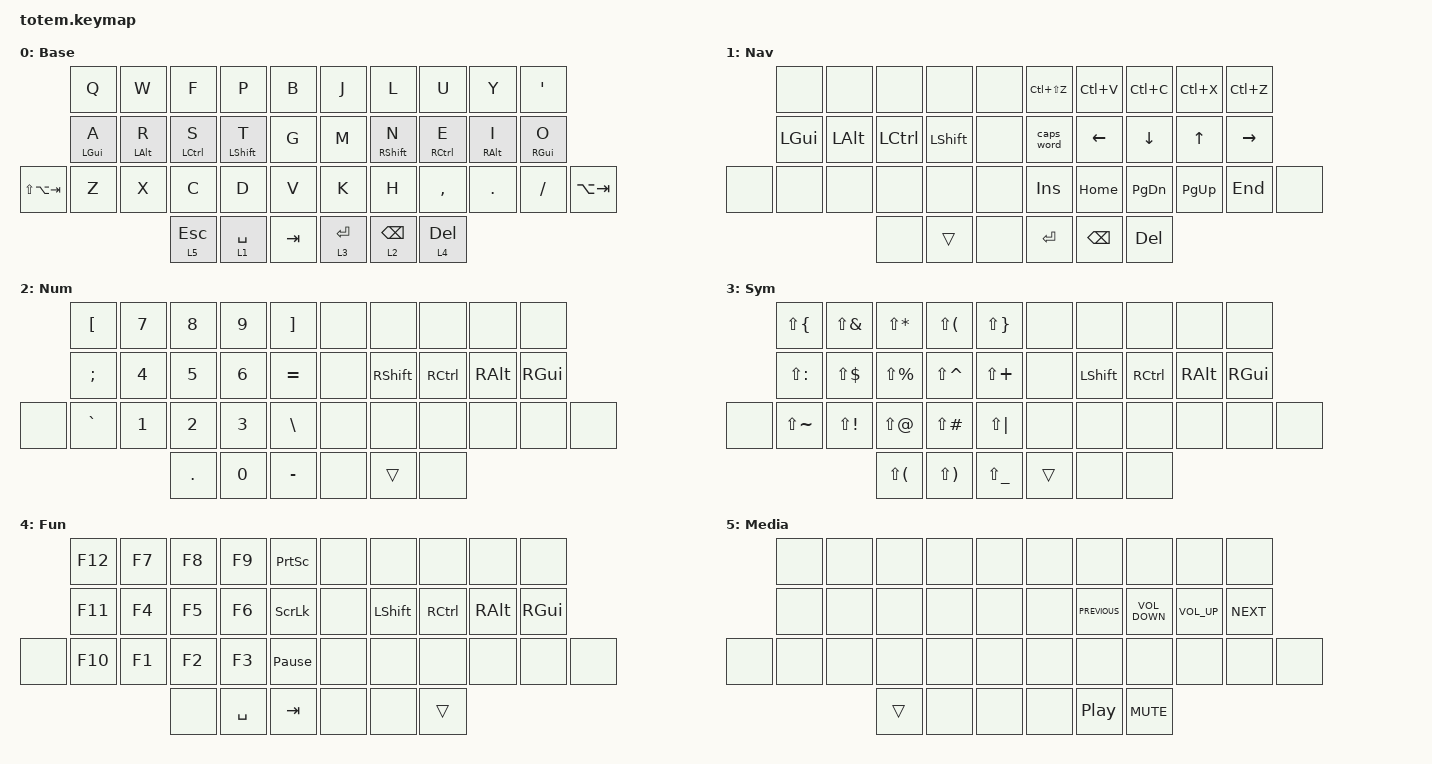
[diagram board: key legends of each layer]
//
//                                                        ▀▀▀▀▀     ▀▀▀▀▀          ▀▀█▀▀
//                                                        ▄▀▀▀▄  ▄  ▄▀▀▀▄  ▄  ▄▀▀▀▄  █  ▄▀▀▀▄
//                                                        █   █  █  █   █  █  █   █  █  █   █
//                                                         ▀▀▀   █   ▀▀▀   █   ▀▀▀   ▀   ▀▀▀
//                                                               █      ▄▄▄█▄▄▄    █   █  
//                                                               ▀      █  █  █     █▄█
//                                                             ▀▀▀▀▀    █  █  █      ▀
//                                                                      ▀  ▀  ▀
//
// ▄▄▄▄▄▄▄▄▄▄▄▄▄▄▄▄▄▄▄▄▄▄▄▄▄▄▄▄▄▄▄▄▄▄▄▄▄▄▄▄▄▄▄▄▄▄▄▄▄▄▄▄▄▄▄▄▄▄▄▄▄▄▄▄▄▄▄▄▄▄▄▄▄▄▄▄▄▄▄▄▄▄▄▄▄▄▄▄▄▄▄▄▄▄▄▄▄▄▄▄▄▄▄▄▄▄▄▄▄▄▄▄▄▄▄▄▄▄▄▄▄▄▄▄▄▄▄▄▄▄▄▄▄▄▄▄▄▄▄▄▄▄▄▄▄▄▄▄▄

#include <behaviors.dtsi>
#include <dt-bindings/zmk/keys.h>

#define Base        0
#define Nav         1
#define Sym         2
#define Fun         3
#define Game        4
#define Gameplus    5

&mt {
    quick-tap-ms = <100>;
    global-quick-tap;
    flavor = "tap-preferred";
    tapping-term-ms = <170>;
};

&lt {
    tapping-term-ms = <240>;
    flavor = "balanced";
    quick-tap-ms = <150>;
};

/ {
    behaviors {
        hm: homerow_mods {
            compatible = "zmk,behavior-hold-tap";
            label = "HOMEROW_MODS";
            #binding-cells = <2>;
            flavor = "tap-preferred";
            tapping-term-ms = <200>;
            quick-tap-ms = <125>;
            global-quick-tap;
            bindings = <&kp>, <&kp>;
        };
    };

    combos { compatible = "zmk,combos"; };

    keymap {
        compatible = "zmk,keymap";

        Base {
            display-name = "Base";
            bindings = <
                 &kp Q       &kp W       &kp F         &kp P         &kp B      &kp J        &kp L        &kp U         &kp Y       &kp SQT
                 &hm LGUI A  &hm LALT R  &hm LCTRL S   &hm LSHIFT T  &kp G      &kp M        &hm RSHFT N  &hm RCTRL E   &hm RALT I  &hm RGUI O
&kp LS(LA(TAB))  &kp Z       &kp X       &kp C         &kp D         &kp V      &kp K        &kp H        &kp COMMA     &kp DOT     &kp SLASH   &kp LA(TAB)
                                         &lt 5 ESCAPE  &lt 1 SPACE   &kp TAB    &lt 3 ENTER  &lt 2 BSPC   &lt 4 DELETE
            >;
        };

        Nav {
            bindings = <
       &none         &none         &none      &none      &none    &kp LC(LS(Z))  &kp LC(V)  &kp LC(C)      &kp LC(X)    &kp LC(Z)
       &kp LEFT_GUI  &kp LEFT_ALT  &kp LCTRL  &kp LSHFT  &none    &caps_word     &kp LEFT   &kp DOWN       &kp UP       &kp RIGHT
&none  &none         &none         &none      &none      &none    &kp INSERT     &kp HOME   &kp PAGE_DOWN  &kp PAGE_UP  &kp END    &none
                                   &none      &trans     &none    &kp RET        &kp BSPC   &kp DEL
            >;
        };

        Num {
            bindings = <
       &kp LBKT   &kp N7  &kp N8   &kp N9  &kp RBKT     &none  &none            &none      &none          &none
       &kp SEMI   &kp N4  &kp N5   &kp N6  &kp EQUAL    &none  &kp RIGHT_SHIFT  &kp RCTRL  &kp RIGHT_ALT  &kp RIGHT_GUI
&none  &kp GRAVE  &kp N1  &kp N2   &kp N3  &kp BSLH     &none  &none            &none      &none          &none          &none
                          &kp DOT  &kp N0  &kp MINUS    &none  &trans           &none
            >;
        };

        Sym {
            bindings = <
       &kp LS(LBRC)   &kp LS(AMPS)  &kp LS(STAR)   &kp LS(LPAR)   &kp LS(RBRC)     &none   &none      &none      &none          &none
       &kp LS(COLON)  &kp LS(DLLR)  &kp LS(PRCNT)  &kp LS(CARET)  &kp LS(PLUS)     &none   &kp LSHFT  &kp RCTRL  &kp RIGHT_ALT  &kp RIGHT_GUI
&none  &kp LS(TILDE)  &kp LS(EXCL)  &kp LS(AT)     &kp LS(POUND)  &kp LS(PIPE)     &none   &none      &none      &none          &none          &none
                                    &kp LS(LPAR)   &kp LS(RPAR)   &kp LS(UNDER)    &trans  &none      &none
            >;
        };

        Fun {
            bindings = <
       &kp F12  &kp F7  &kp F8  &kp F9     &kp PRINTSCREEN    &none  &none      &none      &none     &none
       &kp F11  &kp F4  &kp F5  &kp F6     &kp SCROLLLOCK     &none  &kp LSHFT  &kp RCTRL  &kp RALT  &kp RIGHT_GUI
&none  &kp F10  &kp F1  &kp F2  &kp F3     &kp PAUSE_BREAK    &none  &none      &none      &none     &none          &none
                        &none   &kp SPACE  &kp TAB            &none  &none      &trans
            >;
        };

        Media {
            display-name = "Media";
            bindings = <
       &none  &none  &none   &none  &none    &none  &none             &none              &none            &none
       &none  &none  &none   &none  &none    &none  &kp C_PREVIOUS    &kp C_VOLUME_DOWN  &kp C_VOLUME_UP  &kp C_NEXT
&none  &none  &none  &none   &none  &none    &none  &none             &none              &none            &none       &none
                     &trans  &none  &none    &none  &kp C_PLAY_PAUSE  &kp C_MUTE
            >;
        };
    };
};
